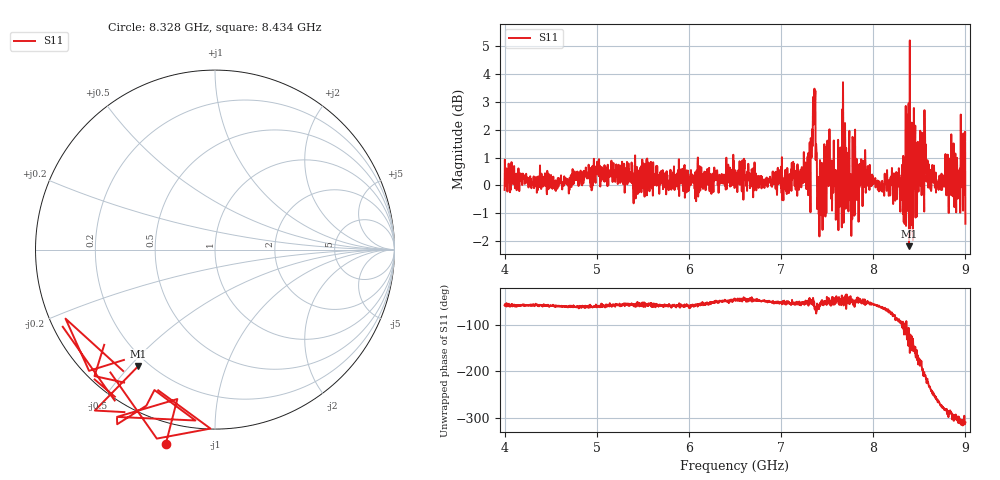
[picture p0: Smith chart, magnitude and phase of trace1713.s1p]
! Created with skrf 1.8.0 (http://scikit-rf.org).
# Hz S RI R 50.0
!freq ReS11 ImS11
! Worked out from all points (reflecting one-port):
!   1601 points, 4 GHz to 9 GHz, reference 50 ohm
!   lowest |S11| = -2.2 dB at 8.388 GHz (marker M1), VSWR 7.98, Z = 8.05 - j26.4 ohm
!   phase of S11 starts at -57 deg and turns -253 deg over the sweep
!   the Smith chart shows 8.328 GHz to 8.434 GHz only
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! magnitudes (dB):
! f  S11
! 4 GHz  -0.2
! 4.059 GHz  -0.2
! 4.625 GHz  -0.1
! 5.25 GHz  0.1
! 5.875 GHz  0.4
! 6.5 GHz  0.1
! 7.038 GHz  0.0
! 7.125 GHz  0.3
! 7.294 GHz  -0.4
! 7.319 GHz  -1.0
! 7.347 GHz  3.2
! 7.362 GHz  3.5
! 7.412 GHz  -0.3
! 7.519 GHz  0.7
! 7.612 GHz  -0.1
! 7.669 GHz  1.3
! 7.75 GHz  0.1
! 8.316 GHz  0.3
! 8.375 GHz  -0.1
! 8.388 GHz  -2.2
! 8.412 GHz  -0.4
! 8.459 GHz  -1.2
! 8.544 GHz  1.4
! 8.603 GHz  0.8
! 8.722 GHz  0.1
! 8.922 GHz  -0.2
! 8.972 GHz  1.0
! 9 GHz  -1.4
